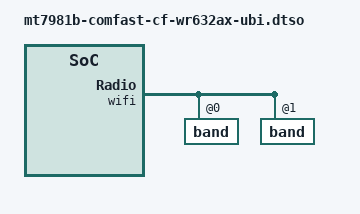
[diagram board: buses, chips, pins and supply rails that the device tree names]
// SPDX-License-Identifier: GPL-2.0-or-later OR MIT

/dts-v1/;
/plugin/;
&{/} {
	model = "COMFAST CF-WR632AX (UBI)";
};

&chosen {
	rootdisk = <&ubi_rootdisk>;
};

&gmac0 {
	nvmem-cells = <&macaddr_factory_e000 0>;
};

&gmac1 {
	nvmem-cells = <&macaddr_factory_e000 1>;
};

&partitions {
	partition@0 {
		label = "bl2";
	};

	partition@100000 {
		label = "ubi";
		reg = <0x100000 0x7f00000>;
		compatible = "linux,ubi";

		volumes {
			ubi_factory: ubi-volume-factory {
				volname = "factory";
			};

			ubi_rootdisk: ubi-volume-fit {
				volname = "fit";
			};

			ubi-volume-ubootenv {
				volname = "ubootenv";
				nvmem-layout {
					compatible = "u-boot,env-redundant-bool";
				};
			};

			ubi-volume-ubootenv2 {
				volname = "ubootenv2";
				nvmem-layout {
					compatible = "u-boot,env-redundant-bool";
				};
			};
		};
	};
};

&ubi_factory {
	nvmem-layout {
		compatible = "fixed-layout";
		#address-cells = <1>;
		#size-cells = <1>;

		eeprom_factory_0: eeprom@0 {
			reg = <0x0 0x1000>;
		};

		macaddr_factory_4: macaddr@4 {
			reg = <0x4 0x6>;
			compatible = "mac-base";
			#nvmem-cell-cells = <1>;
		};

		macaddr_factory_8000: macaddr@8000 {
			reg = <0x8000 0x6>;
			compatible = "mac-base";
			#nvmem-cell-cells = <1>;
		};

		macaddr_factory_e000: macaddr@e000 {
			compatible = "mac-base";
			reg = <0xe000 0x6>;
			#nvmem-cell-cells = <1>;
		};
	};
};

&wifi {
	nvmem-cells = <&eeprom_factory_0>;

	band@0 {
		nvmem-cells = <&macaddr_factory_4 0>;
	};

	band@1 {
		nvmem-cells = <&macaddr_factory_8000 0>;
	};
};
